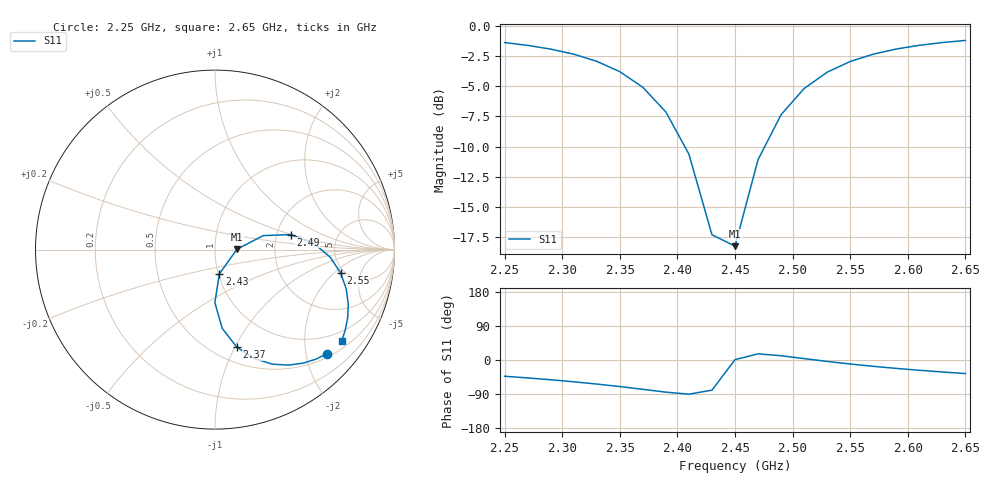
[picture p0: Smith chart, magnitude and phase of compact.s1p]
# Hz S RI R 50
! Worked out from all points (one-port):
!   21 points, 2.25 GHz to 2.65 GHz, reference 50 ohm
!   lowest |S11| = -18.2 dB at 2.45 GHz (marker M1), VSWR 1.28, Z = 64 + j0.253 ohm
!   |S11| at or under -10 dB: 2.406 GHz to 2.476 GHz (69.31 MHz wide, 2.84 % of centre)
!   S11 on the Smith chart (normalised r, x): 2.25 GHz: 0.57, -2.43; 2.37 GHz: 0.65, -1.02; 2.43 GHz: 1.01, -0.28; 2.49 GHz: 2.38, +0.49; 2.55 GHz: 4.60, -2.44; 2.65 GHz: 0.71, -2.95
2.25e9  0.6248 -0.58
2.27e9  0.563 -0.61
2.29e9  0.4917 -0.6325
2.31e9  0.4102 -0.6437
2.33e9  0.3187 -0.638
2.35e9  0.22 -0.6076
2.37e9  0.1217 -0.5435
2.39e9  0.0399 -0.4383
2.41e9  -0.000813 -0.2946
2.43e9  0.0247 -0.1344
2.45e9  0.1226 0.00195
2.47e9  0.2683 0.0778
2.49e9  0.4208 0.0837
2.51e9  0.5491 0.0358
2.53e9  0.6416 -0.0419
2.55e9  0.7 -0.1306
2.57e9  0.7312 -0.2192
2.59e9  0.7424 -0.3025
2.61e9  0.7394 -0.3785
2.63e9  0.7262 -0.447
2.65e9  0.7059 -0.5083
